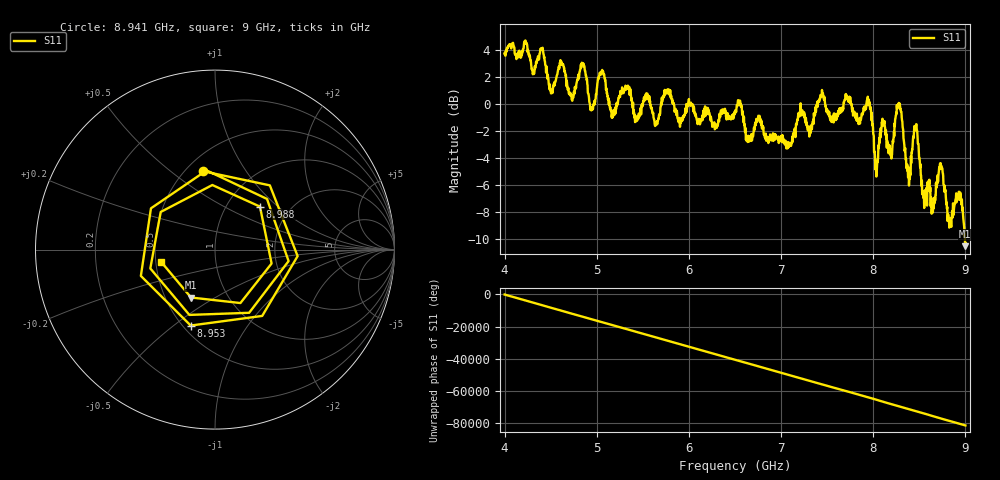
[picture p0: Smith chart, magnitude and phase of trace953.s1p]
! Created with skrf 1.8.0 (http://scikit-rf.org).
# Hz S RI R 50.0
!freq ReS11 ImS11
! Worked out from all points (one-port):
!   1601 points, 4 GHz to 9 GHz, reference 50 ohm
!   lowest |S11| = -10.5 dB at 8.997 GHz (marker M1), VSWR 1.85, Z = 33.6 - j19.7 ohm
!   |S11| at or under -10 dB: 8.99526 GHz to end of sweep
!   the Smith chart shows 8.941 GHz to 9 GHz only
!   S11 on the Smith chart (normalised r, x): 8.941 GHz: 0.61, +0.66; 8.953 GHz: 0.55, -0.58; 8.988 GHz: 1.42, +0.77; 9 GHz: 0.54, -0.08
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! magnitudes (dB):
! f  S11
! 4 GHz  3.7
! 4.406 GHz  4.1
! 4.506 GHz  0.8
! 4.625 GHz  2.9
! 4.722 GHz  0.6
! 4.844 GHz  3.0
! 4.944 GHz  -0.5
! 5.05 GHz  2.4
! 5.166 GHz  -0.8
! 5.25 GHz  0.5
! 5.875 GHz  -1.0
! 6.5 GHz  -0.7
! 7.125 GHz  -2.8
! 7.444 GHz  1.0
! 7.75 GHz  0.5
! 7.953 GHz  0.2
! 8.034 GHz  -5.4
! 8.281 GHz  0.0
! 8.375 GHz  -4.9
! 8.456 GHz  -1.8
! 8.559 GHz  -6.4
! 8.734 GHz  -4.7
! 8.828 GHz  -8.7
! 8.941 GHz  -7.1
! 8.953 GHz  -7.0
! 8.988 GHz  -9.2
! 8.997 GHz  -10.5
! 9 GHz  -10.3
